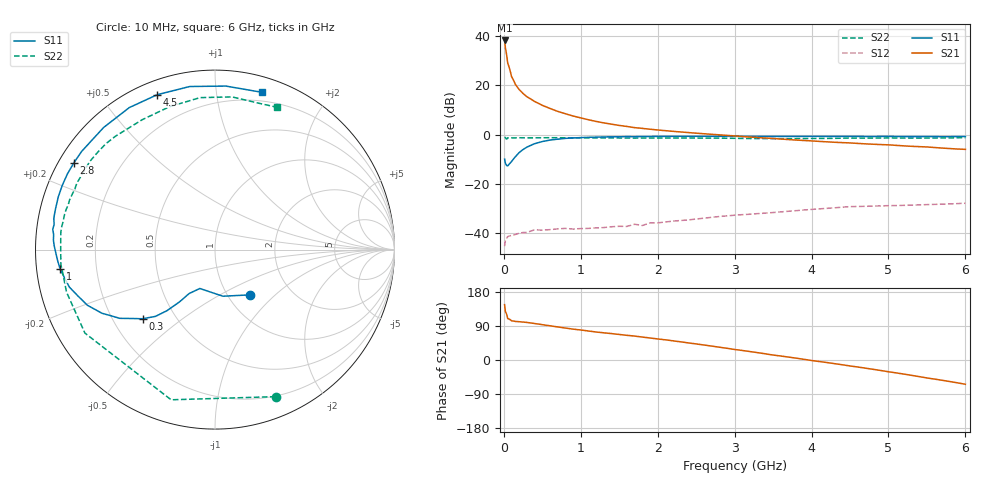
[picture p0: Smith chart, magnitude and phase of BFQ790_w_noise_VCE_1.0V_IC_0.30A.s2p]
! (c) 2015  Infineon Technologies AG, Munich
! Infineon Technologies  Discrete & RF Semiconductors
! BFQ790
! VCE =  1.0 V,  IC = 0.30 A
! Common Emitter S-Parameters:  May 2015
# GHz  S  MA  R  50
!  f  S11  S21  S12  S22
! GHz  MAG  ANG  MAG  ANG  MAG  ANG  MAG  ANG
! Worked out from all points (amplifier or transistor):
!   77 points, 10 MHz to 6 GHz, reference 50 ohm
!   highest |S21| = 38.1 dB at 10 MHz (marker M1)
!   |S21| within 3 dB of that: start of sweep to 20.68 MHz
!   unconditionally stable (mu >= 1): 145.8 MHz to end of sweep
!   at 130 MHz: K = 0.91, MSG = 31.2 dB, |S12| = -40.6 dB
!   at 2.2 GHz: K = 1.41, MAG = 14.4 dB, |S12| = -35.0 dB
!   at 6 GHz: K = 1.21, MAG = 8.1 dB, |S12| = -27.8 dB
!   lowest NFmin = 4.10 dB at 1.5 GHz
!   S11 on the Smith chart (normalised r, x): 10 MHz: 1.26, -0.71; 300 MHz: 0.33, -0.36; 1 GHz: 0.07, -0.06; 2.8 GHz: 0.04, +0.28; 4.5 GHz: 0.06, +0.69; 6 GHz: 0.12, +1.33
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0.01  0.3188 -52.3  80.58 146.0  0.0055 54.1  0.8861 -67.6
0.02  0.2635 -80.3  57.81 127.5  0.0072 37.2  0.8718 -106.3
0.05  0.2325 -111.3  28.12 109.3  0.0086 20.1  0.8611 -147.3
0.1  0.2836 -120.4  14.95 103.4  0.0091 13.1  0.8605 -164.0
0.15  0.3562 -124.4  10.4 101.8  0.0095 14.8  0.858 -170.9
0.2  0.4332 -128.2  8.144 101.0  0.0101 18.6  0.8628 -174.4
0.25  0.4982 -131.7  6.786 100.1  0.0104 16.3  0.8602 -176.9
0.3  0.5576 -136.3  5.843 99.1  0.0104 13.2  0.86 -179.0
0.4  0.6546 -144.2  4.678 96.2  0.0118 15.6  0.8602 178.0
0.5  0.7226 -150.6  3.912 93.2  0.0116 11.5  0.8619 175.6
0.6  0.7753 -156.4  3.379 90.3  0.0119 13.7  0.8646 173.4
0.8  0.8381 -165.6  2.645 84.4  0.0126 10.3  0.8611 169.9
1  0.8697 -172.8  2.178 79.2  0.0125 14.0  0.8608 166.7
1.1  0.8795 -176.2  1.997 76.5  0.0126 15.4  0.8592 165.1
1.5  0.9029 174.7  1.533 67.4  0.0139 19.0  0.8538 159.6
2.1  0.9186 163.4  1.2 53.2  0.017 18.9  0.8513 150.4
2.8  0.9232 148.4  0.989 33.8  0.0219 11.5  0.8474 135.9
3.1  0.9195 141.4  0.915 25.1  0.0239 8.8  0.8356 129.0
4.1  0.921 119.0  0.728 -4.0  0.0313 -7.9  0.8356 105.2
4.5  0.921 110.4  0.678 -15.7  0.0348 -16.2  0.8508 95.6
5.1  0.9147 96.3  0.605 -34.0  0.0366 -30.0  0.8529 81.6
6  0.9145 73.4  0.502 -64.0  0.0407 -52.1  0.8646 66.6
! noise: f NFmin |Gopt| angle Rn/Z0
0.45  6.78  0.53  143  0.71
0.9  4.78  0.66  170  0.19
1.5  4.1  0.74  -171  0.11
1.8  4.11  0.76  -166  0.14
2.6  4.26  0.78  -150  0.37
3.5  4.69  0.89  -135  0.75
